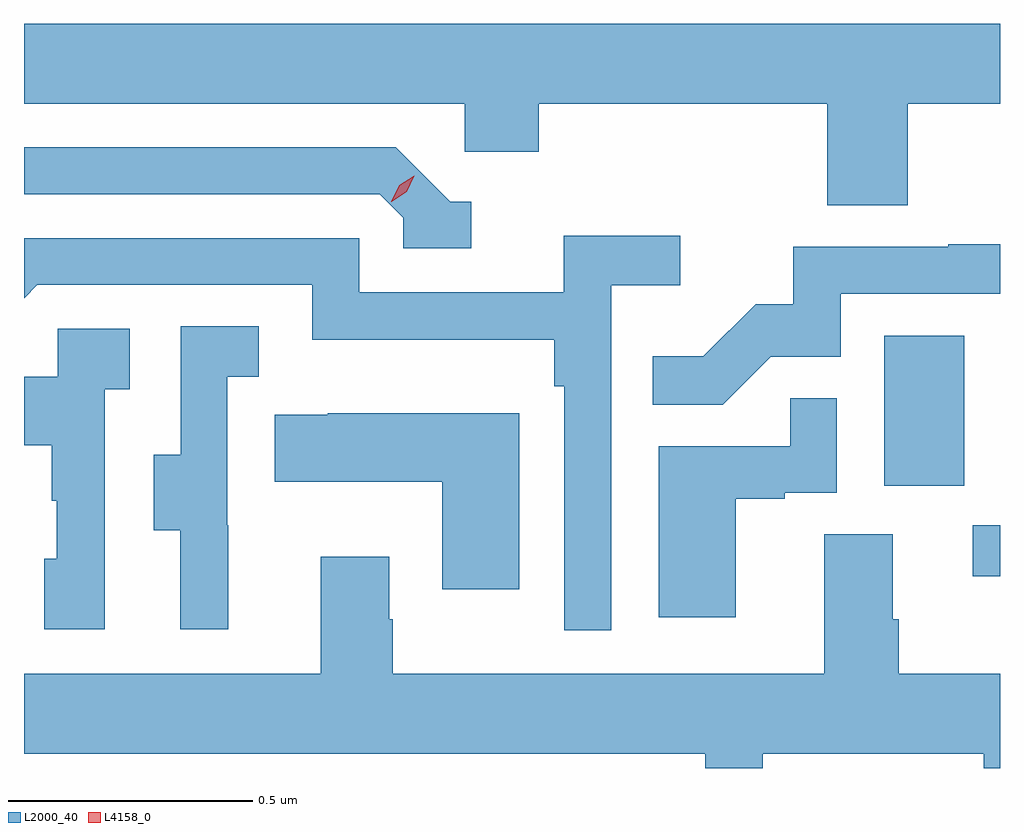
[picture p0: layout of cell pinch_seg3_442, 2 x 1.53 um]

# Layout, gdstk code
import gdstk
lib = gdstk.Library(unit=1e-6, precision=1e-09)
def R(c, l, rs):  # rectangles x0, y0, x1, y1
    for r in rs: c.add(gdstk.rectangle(r[:2], r[2:], *l))
def P(c, l, *ps):  # polygons
    for p in ps: c.add(gdstk.Polygon(p, *l))
L2000_40 = (2000, 40)
L4158_0 = (4158, 0)

pinch_seg3_442 = lib.new_cell('pinch_seg3_442')
R(pinch_seg3_442, L2000_40, [(934.995,667.98,935.051,668.085), (934.814,668.166,934.978,668.473)])
P(pinch_seg3_442, L2000_40, [(934.862,668.948),(935.051,668.948),(935.051,669.112),(933.051,669.112),(933.051,668.948),(933.954,668.948),(933.954,668.85),(934.106,668.85),(934.106,668.948),(934.697,668.948),(934.697,668.74),(934.862,668.74)],
  [(933.967,668.748),(933.924,668.748),(933.813,668.859),(933.051,668.859),(933.051,668.763),(933.78,668.763),(933.828,668.715),(933.828,668.652),(933.967,668.652)],
  [(934.254,668.576),(934.396,668.576),(934.396,668.678),(934.157,668.678),(934.157,668.562),(933.738,668.562),(933.738,668.673),(933.051,668.673),(933.051,668.55),(933.078,668.577),(933.642,668.577),(933.642,668.465),(934.138,668.465),(934.138,668.369),(934.158,668.369),(934.158,667.869),(934.254,667.869)],
  [(934.581,668.43),(934.725,668.43),(934.725,668.559),(935.051,668.559),(935.051,668.66),(934.945,668.66),(934.945,668.655),(934.627,668.655),(934.627,668.538),(934.55,668.538),(934.443,668.431),(934.339,668.431),(934.339,668.332),(934.483,668.332)],
  [(933.47,668.085),(933.468,668.085),(933.468,668.389),(933.532,668.389),(933.532,668.492),(933.372,668.492),(933.372,668.229),(933.317,668.229),(933.317,668.074),(933.371,668.074),(933.371,667.872),(933.47,667.872)],
  [(933.216,668.363),(933.268,668.363),(933.268,668.487),(933.12,668.487),(933.12,668.389),(933.051,668.389),(933.051,668.249),(933.108,668.249),(933.108,668.135),(933.118,668.135),(933.118,668.016),(933.092,668.016),(933.092,667.872),(933.216,667.872)],
  [(934.51,668.139),(934.61,668.139),(934.61,668.151),(934.716,668.151),(934.716,668.345),(934.621,668.345),(934.621,668.247),(934.352,668.247),(934.352,667.896),(934.51,667.896)],
  [(934.066,668.314),(933.673,668.314),(933.673,668.311),(933.565,668.311),(933.565,668.174),(933.908,668.174),(933.908,667.953),(934.066,667.953)],
  [(934.565,667.616),(935.018,667.616),(935.018,667.587),(935.051,667.587),(935.051,667.78),(934.844,667.78),(934.844,667.892),(934.831,667.892),(934.831,668.066),(934.691,668.066),(934.691,667.78),(933.807,667.78),(933.807,667.892),(933.799,667.892),(933.799,668.02),(933.659,668.02),(933.659,667.78),(933.051,667.78),(933.051,667.616),(934.447,667.616),(934.447,667.587),(934.565,667.587)])
P(pinch_seg3_442, L4158_0, [(933.804,668.748),(933.804,668.749),(933.82,668.781),(933.851,668.801),(933.851,668.801),(933.851,668.801),(933.835,668.768),(933.805,668.748)])

lib.write_gds('pinch_seg3_442.gds')
